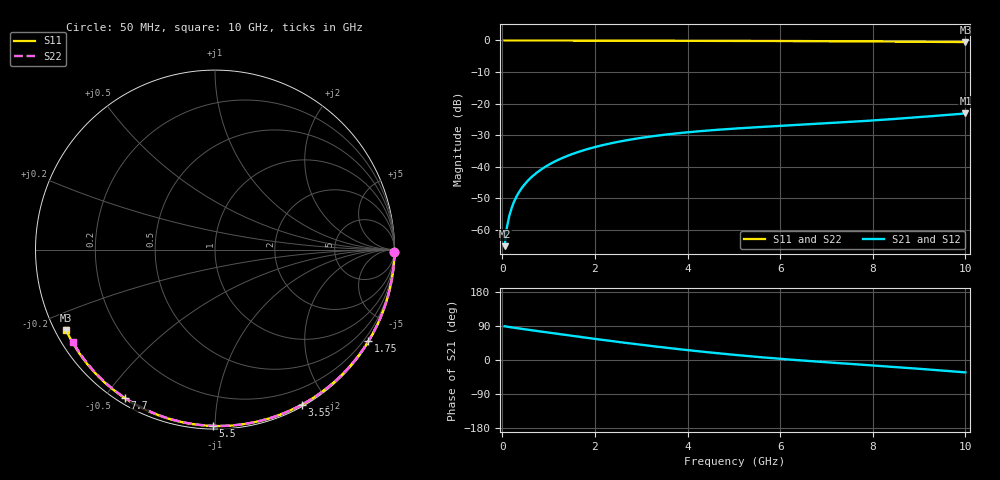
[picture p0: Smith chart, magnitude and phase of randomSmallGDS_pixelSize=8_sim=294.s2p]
! freq	dB(S11)	phase(S11)	dB(S12)	phase(S12)
!  dB(S21)	phase(S21)	dB(S22)	phase(S22)
!S-par simulation data
#  GHz  S  DB  R 50
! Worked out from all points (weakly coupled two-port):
!   200 points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, 50 MHz to 10 GHz, reference 50 ohm
!   highest |S21| = -23.11 dB at 10 GHz (marker M1); lowest = -65.1 dB at 50 MHz (marker M2)
!   lowest |S11| = -0.5 dB at 10 GHz (marker M3), VSWR 33.95, Z = 1.57 - j12.6 ohm
!   |S11| at or under -10 dB: nowhere
!   |S22| runs from -0.5 to 0.0 dB; largest |S21 - S12| = 0
!   S11 on the Smith chart (normalised r, x): 50 MHz: open; 1.75 GHz: 0.03, -3.62; 3.55 GHz: 0.02, -1.70; 5.5 GHz: 0.02, -0.99; 7.7 GHz: 0.02, -0.56; 10 GHz: 0.03, -0.25
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0.05  -0.00 -0.9  -65.09 89.0  -65.09 89.0  -0.00 -0.9
0.1  -0.00 -1.8  -59.08 88.0  -59.08 88.0  -0.00 -1.7
0.15  -0.00 -2.7  -55.57 87.0  -55.57 87.0  -0.00 -2.6
0.2  -0.00 -3.6  -53.09 86.1  -53.09 86.1  -0.00 -3.4
0.25  -0.00 -4.5  -51.17 85.2  -51.17 85.2  -0.00 -4.3
0.35  -0.00 -6.3  -48.28 83.4  -48.28 83.4  -0.00 -6.0
0.5  -0.01 -9.0  -45.22 80.8  -45.22 80.8  -0.01 -8.6
0.7  -0.01 -12.5  -42.36 77.4  -42.36 77.4  -0.01 -12.0
1  -0.02 -17.8  -39.34 72.3  -39.34 72.3  -0.02 -17.1
1.35  -0.03 -23.9  -36.86 66.4  -36.86 66.4  -0.03 -23.0
1.75  -0.04 -30.9  -34.77 59.8  -34.77 59.8  -0.04 -29.6
2.5  -0.06 -43.6  -32.08 47.8  -32.08 47.8  -0.06 -41.9
3.4  -0.08 -58.4  -30.01 34.3  -30.01 34.3  -0.08 -56.2
3.55  -0.09 -60.8  -29.75 32.2  -29.75 32.2  -0.08 -58.5
4.3  -0.11 -72.6  -28.67 22.2  -28.67 22.2  -0.10 -69.9
5.05  -0.13 -84.0  -27.85 13.2  -27.85 13.2  -0.13 -80.9
5.5  -0.15 -90.6  -27.45 8.2  -27.45 8.2  -0.15 -87.4
6.7  -0.21 -107.6  -26.47 -3.4  -26.47 -3.4  -0.21 -103.9
7.7  -0.28 -121.1  -25.60 -11.9  -25.60 -11.9  -0.27 -117.2
8.35  -0.34 -129.8  -24.96 -17.4  -24.96 -17.4  -0.33 -125.7
9.2  -0.42 -141.0  -24.03 -25.0  -24.03 -25.0  -0.41 -136.7
10  -0.51 -151.6  -23.11 -32.7  -23.11 -32.7  -0.50 -147.1
